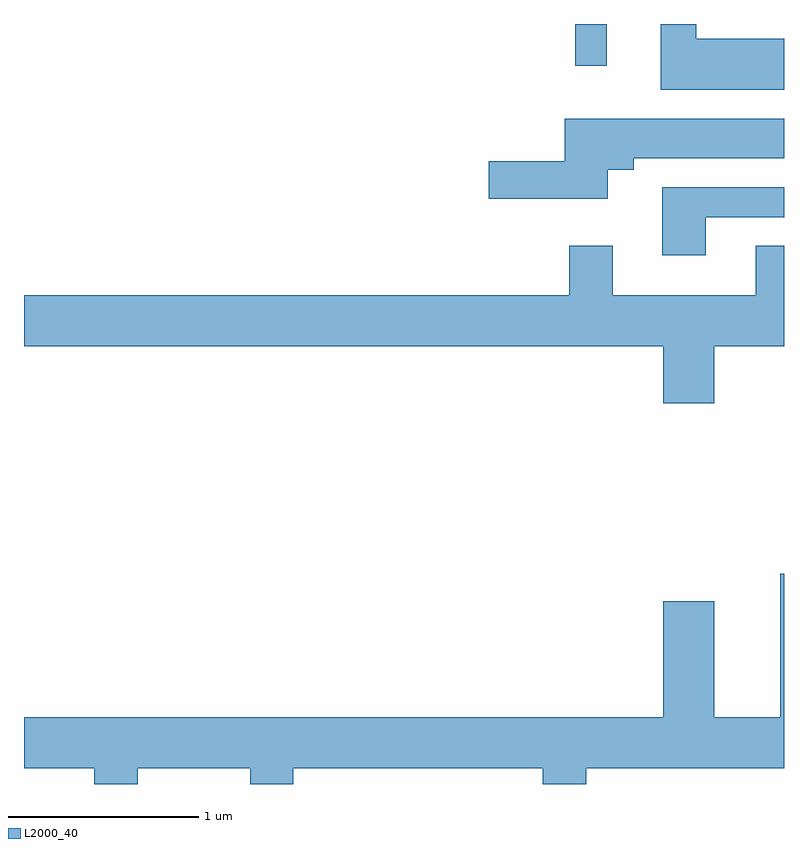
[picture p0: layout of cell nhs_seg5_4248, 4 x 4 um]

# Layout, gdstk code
import gdstk
lib = gdstk.Library(unit=1e-6, precision=1e-09)
def R(c, l, rs):  # rectangles x0, y0, x1, y1
    for r in rs: c.add(gdstk.rectangle(r[:2], r[2:], *l))
def P(c, l, *ps):  # polygons
    for p in ps: c.add(gdstk.Polygon(p, *l))
L2000_40 = (2000, 40)

nhs_seg5_4248 = lib.new_cell('nhs_seg5_4248')
R(nhs_seg5_4248, L2000_40, [(314.511,1433.853,314.679,1434.072)])
P(nhs_seg5_4248, L2000_40, [(315.611,1433.994),(315.149,1433.994),(315.149,1434.072),(314.961,1434.072),(314.961,1433.726),(315.611,1433.726)],
  [(314.684,1433.306),(314.819,1433.306),(314.819,1433.366),(315.611,1433.366),(315.611,1433.574),(314.456,1433.574),(314.456,1433.349),(314.056,1433.349),(314.056,1433.151),(314.684,1433.151)],
  [(315.199,1433.056),(315.611,1433.056),(315.611,1433.214),(314.971,1433.214),(314.971,1432.856),(315.199,1432.856)],
  [(315.244,1432.376),(315.611,1432.376),(315.611,1432.904),(315.461,1432.904),(315.461,1432.644),(314.709,1432.644),(314.709,1432.904),(314.481,1432.904),(314.481,1432.644),(311.611,1432.644),(311.611,1432.376),(314.976,1432.376),(314.976,1432.076),(315.244,1432.076)],
  [(312.209,1430.156),(312.801,1430.156),(312.801,1430.072),(313.029,1430.072),(313.029,1430.156),(314.341,1430.156),(314.341,1430.072),(314.569,1430.072),(314.569,1430.156),(315.611,1430.156),(315.611,1431.179),(315.591,1431.179),(315.591,1430.424),(315.244,1430.424),(315.244,1431.034),(314.976,1431.034),(314.976,1430.424),(311.611,1430.424),(311.611,1430.156),(311.981,1430.156),(311.981,1430.072),(312.209,1430.072)])

lib.write_gds('nhs_seg5_4248.gds')
